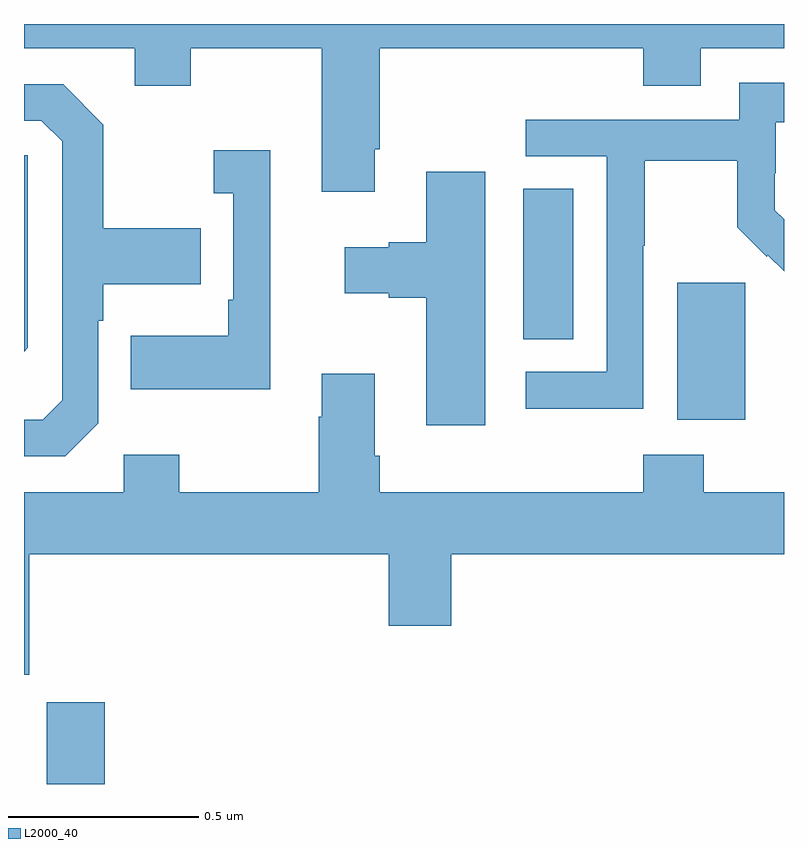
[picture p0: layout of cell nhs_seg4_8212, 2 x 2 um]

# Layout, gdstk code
import gdstk
lib = gdstk.Library(unit=1e-6, precision=1e-09)
def R(c, l, rs):  # rectangles x0, y0, x1, y1
    for r in rs: c.add(gdstk.rectangle(r[:2], r[2:], *l))
def P(c, l, *ps):  # polygons
    for p in ps: c.add(gdstk.Polygon(p, *l))
L2000_40 = (2000, 40)

nhs_seg4_8212 = lib.new_cell('nhs_seg4_8212')
R(nhs_seg4_8212, L2000_40, [(212.06,778.9,212.213,779.115), (213.719,779.858,213.898,780.219), (213.314,780.07,213.445,780.467)])
P(nhs_seg4_8212, L2000_40, [(212.923,780.571),(212.936,780.571),(212.936,780.836),(213.629,780.836),(213.629,780.737),(213.781,780.737),(213.781,780.836),(214,780.836),(214,780.9),(212,780.9),(212,780.836),(212.291,780.836),(212.291,780.737),(212.439,780.737),(212.439,780.836),(212.783,780.836),(212.783,780.459),(212.923,780.459)],
  [(213.63,780.316),(213.633,780.316),(213.633,780.54),(213.877,780.54),(213.877,780.365),(213.954,780.288),(213.957,780.291),(214,780.249),(214,780.386),(213.976,780.41),(213.976,780.507),(213.978,780.507),(213.978,780.641),(214,780.641),(214,780.745),(213.882,780.745),(213.882,780.648),(213.321,780.648),(213.321,780.552),(213.534,780.552),(213.534,779.985),(213.321,779.985),(213.321,779.887),(213.63,779.887)],
  [(212.196,779.85),(212.196,780.119),(212.209,780.119),(212.209,780.215),(212.465,780.215),(212.465,780.363),(212.209,780.363),(212.209,780.635),(212.103,780.741),(212,780.741),(212,780.645),(212.046,780.645),(212.1,780.591),(212.1,779.91),(212.049,779.859),(212,779.859),(212,779.763),(212.109,779.763)],
  [(212.648,780.568),(212.499,780.568),(212.499,780.455),(212.55,780.455),(212.55,780.175),(212.538,780.175),(212.538,780.079),(212.281,780.079),(212.281,779.939),(212.648,779.939)],
  [(212.01,780.048),(212.01,780.555),(212,780.555),(212,780.038)],
  [(213.214,780.511),(213.059,780.511),(213.059,780.326),(212.96,780.326),(212.96,780.313),(212.844,780.313),(212.844,780.191),(212.96,780.191),(212.96,780.179),(213.059,780.179),(213.059,779.844),(213.214,779.844)],
  [(212.014,779.504),(212.96,779.504),(212.96,779.316),(213.124,779.316),(213.124,779.504),(214,779.504),(214,779.668),(213.789,779.668),(213.789,779.767),(213.629,779.767),(213.629,779.668),(212.936,779.668),(212.936,779.764),(212.923,779.764),(212.923,779.98),(212.783,779.98),(212.783,779.867),(212.776,779.867),(212.776,779.668),(212.409,779.668),(212.409,779.767),(212.262,779.767),(212.262,779.668),(212,779.668),(212,779.187),(212.014,779.187)])

lib.write_gds('nhs_seg4_8212.gds')
